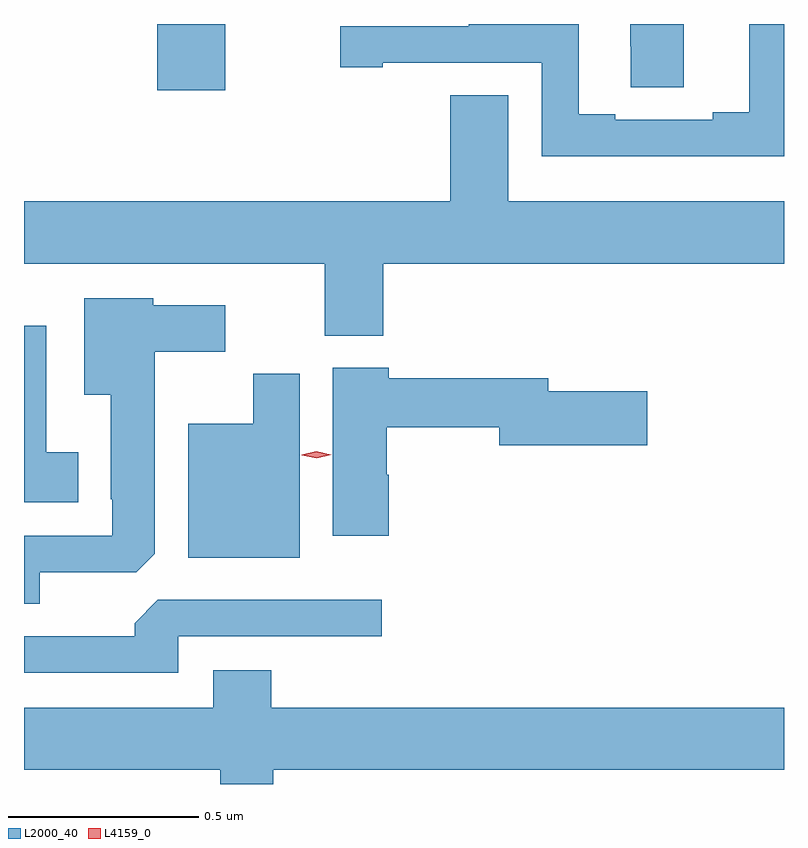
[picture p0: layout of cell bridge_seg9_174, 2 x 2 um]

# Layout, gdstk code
import gdstk
lib = gdstk.Library(unit=1e-6, precision=1e-09)
def R(c, l, rs):  # rectangles x0, y0, x1, y1
    for r in rs: c.add(gdstk.rectangle(r[:2], r[2:], *l))
def P(c, l, *ps):  # polygons
    for p in ps: c.add(gdstk.Polygon(p, *l))
L2000_40 = (2000, 40)
L4159_0 = (4159, 0)

bridge_seg9_174 = lib.new_cell('bridge_seg9_174')
R(bridge_seg9_174, L2000_40, [(180.65,1242.165,180.828,1242.339)])
P(bridge_seg9_174, L2000_40, [(182.299,1242.339),(182.207,1242.339),(182.207,1242.107),(182.111,1242.107),(182.111,1242.087),(181.855,1242.087),(181.855,1242.102),(181.759,1242.102),(181.759,1242.339),(181.469,1242.339),(181.469,1242.333),(181.131,1242.333),(181.131,1242.225),(181.243,1242.225),(181.243,1242.237),(181.662,1242.237),(181.662,1241.991),(182.299,1241.991)],
  [(182.035,1242.339),(181.895,1242.339),(181.895,1242.28),(181.896,1242.28),(181.896,1242.172),(182.035,1242.172)],
  [(181.244,1241.708),(182.299,1241.708),(182.299,1241.872),(181.573,1241.872),(181.573,1242.152),(181.421,1242.152),(181.421,1241.872),(180.299,1241.872),(180.299,1241.708),(181.091,1241.708),(181.091,1241.519),(181.244,1241.519)],
  [(180.34,1240.896),(180.594,1240.896),(180.643,1240.945),(180.643,1241.477),(180.829,1241.477),(180.829,1241.599),(180.639,1241.599),(180.639,1241.617),(180.458,1241.617),(180.458,1241.363),(180.527,1241.363),(180.527,1241.089),(180.531,1241.089),(180.531,1240.992),(180.299,1240.992),(180.299,1240.813),(180.34,1240.813)],
  [(180.442,1241.212),(180.358,1241.212),(180.358,1241.545),(180.299,1241.545),(180.299,1241.081),(180.442,1241.081)],
  [(181.259,1241.153),(181.254,1241.153),(181.254,1241.278),(181.55,1241.278),(181.55,1241.231),(181.939,1241.231),(181.939,1241.373),(181.678,1241.373),(181.678,1241.407),(181.259,1241.407),(181.259,1241.434),(181.112,1241.434),(181.112,1240.992),(181.259,1240.992)],
  [(181.024,1241.419),(180.902,1241.419),(180.902,1241.287),(180.731,1241.287),(180.731,1240.934),(181.024,1240.934)],
  [(180.705,1240.728),(181.24,1240.728),(181.24,1240.824),(180.651,1240.824),(180.59,1240.762),(180.59,1240.728),(180.299,1240.728),(180.299,1240.632),(180.705,1240.632)],
  [(180.955,1240.376),(182.299,1240.376),(182.299,1240.54),(180.95,1240.54),(180.95,1240.639),(180.797,1240.639),(180.797,1240.54),(180.299,1240.54),(180.299,1240.376),(180.815,1240.376),(180.815,1240.339),(180.955,1240.339)])
P(bridge_seg9_174, L4159_0, [(181.069,1241.196),(181.03,1241.204),(181.03,1241.205),(181.03,1241.205),(181.068,1241.215),(181.107,1241.206),(181.107,1241.206),(181.107,1241.206)])

lib.write_gds('bridge_seg9_174.gds')
